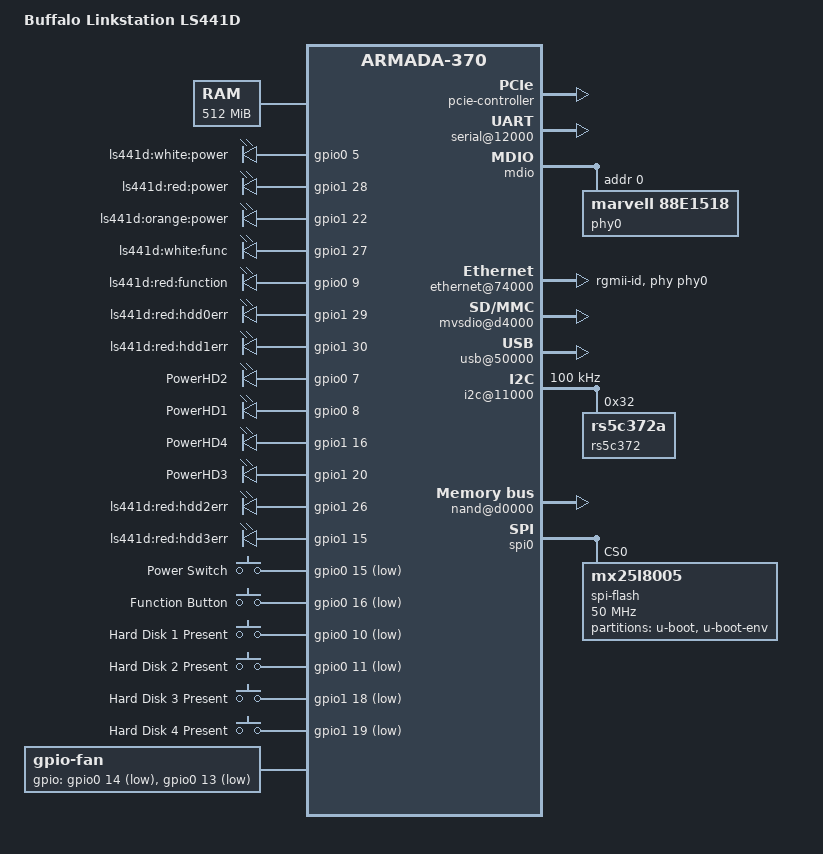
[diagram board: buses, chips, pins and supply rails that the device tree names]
/*
 * Device Tree file for Buffalo Linkstation LS441D
 *
 * Toha <tohenk@yahoo.com>
 *
 * This file is dual-licensed: you can use it either under the terms
 * of the GPL or the X11 license, at your option. Note that this dual
 * licensing only applies to this file, and not this project as a
 * whole.
 *
 *  a) This file is free software; you can redistribute it and/or
 *     modify it under the terms of the GNU General Public License as
 *     published by the Free Software Foundation; either version 2 of the
 *     License, or (at your option) any later version.
 *
 *     This file is distributed in the hope that it will be useful,
 *     but WITHOUT ANY WARRANTY; without even the implied warranty of
 *     MERCHANTABILITY or FITNESS FOR A PARTICULAR PURPOSE.  See the
 *     GNU General Public License for more details.
 *
 * Or, alternatively,
 *
 *  b) Permission is hereby granted, free of charge, to any person
 *     obtaining a copy of this software and associated documentation
 *     files (the "Software"), to deal in the Software without
 *     restriction, including without limitation the rights to use,
 *     copy, modify, merge, publish, distribute, sublicense, and/or
 *     sell copies of the Software, and to permit persons to whom the
 *     Software is furnished to do so, subject to the following
 *     conditions:
 *
 *     The above copyright notice and this permission notice shall be
 *     included in all copies or substantial portions of the Software.
 *
 *     THE SOFTWARE IS PROVIDED "AS IS", WITHOUT WARRANTY OF ANY KIND,
 *     EXPRESS OR IMPLIED, INCLUDING BUT NOT LIMITED TO THE WARRANTIES
 *     OF MERCHANTABILITY, FITNESS FOR A PARTICULAR PURPOSE AND
 *     NONINFRINGEMENT. IN NO EVENT SHALL THE AUTHORS OR COPYRIGHT
 *     HOLDERS BE LIABLE FOR ANY CLAIM, DAMAGES OR OTHER LIABILITY,
 *     WHETHER IN AN ACTION OF CONTRACT, TORT OR OTHERWISE, ARISING
 *     FROM, OUT OF OR IN CONNECTION WITH THE SOFTWARE OR THE USE OR
 *     OTHER DEALINGS IN THE SOFTWARE.
 */

/dts-v1/;

#include <dt-bindings/input/input.h>
#include <dt-bindings/gpio/gpio.h>
#include "armada-370.dtsi"

/ {
	model = "Buffalo Linkstation LS441D";
	compatible = "buffalo,ls441d", "marvell,armada370", "marvell,armada-370-xp";

	chosen {
		bootargs = "earlyprintk boot=local";
		stdout-path = "serial0:115200n8";
	};

	memory {
		device_type = "memory";
		reg = <0x00000000 0x20000000>; /* 512 MB */
	};

	soc {
		ranges = <MBUS_ID(0xf0, 0x01) 0 0xd0000000 0x100000
			  MBUS_ID(0x01, 0xe0) 0 0xfff00000 0x100000>;

		pcie-controller {
			status = "okay";

			pcie@1,0 {
				/* Port 0, Lane 0 */
				status = "okay";
			};
			pcie@2,0 {
				/* Port 1, Lane 0 */
				status = "okay";
			};
		};

		internal-regs {
			rtc@10300 {
				status = "disabled";
			};

			serial@12000 {
				status = "okay";
			};

			timer@20300 {
				status = "okay";
			};

			mdio {
				/* Marvell 88E1518 */
				phy0: ethernet-phy@0 {
					reg = <0>;
					marvell,reg-init = <0x3 0x10 0xf000 0x081e>,
							   <0x3 0x11 0xfff0 0x0001>;
					compatible = "marvell,88e1518", "ethernet-phy-ieee802.3-c22";
				};
			};

			ethernet@74000 {
				status = "okay";
				phy = <&phy0>;
				phy-mode = "rgmii-id";
			};			

			mvsdio@d4000 {
				pinctrl-0 = <&sdio_pins3>;
				pinctrl-names = "default";
				status = "okay";
				broken-cd;
			};

			usb@50000 {
				status = "okay";
			};

			i2c@11000 {
				status = "okay";
				clock-frequency = <100000>;

				rs5c372: rs5c372@32 {
					compatible = "rs5c372a";
					reg = <0x32>;
				};
			};

			nand@d0000 {
				status = "okay";
				num-cs = <1>;
				marvell,nand-keep-config;
				marvell,nand-enable-arbiter;
				nand-on-flash-bbt;

				/* Use Hardware BCH ECC */
				//nand-ecc-strength = <4>;
				//nand-ecc-step-size = <512>;

				partition@0 {
					label = "boot";
					//reg = <0x0 0x02000000>;
					reg = <0x00000000 0x02000000>;  /* 32MB */
				};
				partition@02100000 {
					label = "rootfs";
					//reg = <0x02100000 0x1df00000>;
					reg = <0x02000000 0x1e000000>;  /* 480MB */
				};
			};
		};
	};

/*	regulators {
		compatible = "simple-bus";
		#address-cells = <1>;
		#size-cells = <0>;
		pinctrl-0 = <&usb_vbus>;
		pinctrl-names = "default";

		usb_power: regulator@1 {
			compatible = "regulator-fixed";
			reg = <1>;
			regulator-name = "USB Power";
			regulator-min-microvolt = <5000000>;
			regulator-max-microvolt = <5000000>;
			enable-active-high;
			regulator-always-on;
			regulator-boot-on;
			gpio = <&gpio0 5 GPIO_ACTIVE_LOW>;
		};
	};
*/


	gpio-leds {
		compatible = "gpio-leds";
		pinctrl-names = "default";
		pinctrl-0 = <&alarm_led_pin &info_led_pin &power_led &err_led &info_led &func_red 
			&func_led_pin &sata1_led_pin &sata2_led_pin &hdd2_err_led &hdd3_err_led 
			&hdd_pwr0 &hdd_pwr1 &hdd_pwr2 &hdd_pwr3>;

		power-led {
			label = "ls441d:white:power";
			gpios = <&gpio0 5 GPIO_ACTIVE_HIGH>;
			default-state = "on";
		};
	
		err-led {
			label = "ls441d:red:power";
			gpios = <&gpio1 28 GPIO_ACTIVE_HIGH>;
			default-state = "off";
		};

		info-led {
			label = "ls441d:orange:power";
			gpios = <&gpio1 22 GPIO_ACTIVE_HIGH>;
			default-state = "off";
		};


		white-func-led {
			label = "ls441d:white:func";
			gpios = <&gpio1 27 GPIO_ACTIVE_HIGH>;
			default-state = "off";
		};

		func-red {
			label = "ls441d:red:function";
			gpios = <&gpio0 9 GPIO_ACTIVE_HIGH>;
			default-state = "off";
		};

		red-hdd0err-led {
			label = "ls441d:red:hdd0err";
			gpios = <&gpio1 29 GPIO_ACTIVE_HIGH>;
			default-state = "off";
		};
		red-hdd1err-led {
			label = "ls441d:red:hdd1err";
			gpios = <&gpio1 30 GPIO_ACTIVE_HIGH>;
			default-state = "off";
		};

		hd1-power {
			label = "PowerHD2";
			gpios = <&gpio0 7 GPIO_ACTIVE_HIGH>;
			default-state = "on";
		};

		hd0-power {
			label = "PowerHD1";
			gpios = <&gpio0 8 GPIO_ACTIVE_HIGH>;
			default-state = "on";
		};
		
		hd3-power {
			label = "PowerHD4";
			gpios = <&gpio1 16 GPIO_ACTIVE_HIGH>;
			default-state = "on";
		};

		hd2-power {
			label = "PowerHD3";
			gpios = <&gpio1 20 GPIO_ACTIVE_HIGH>;
			default-state = "on";
		};
		
		hdd2-err-led {
			label = "ls441d:red:hdd2err";
			gpios = <&gpio1 26 GPIO_ACTIVE_HIGH>;
			default-state = "off";
		};

		hdd3-err-led {
			label = "ls441d:red:hdd3err";
			gpios = <&gpio1 15 GPIO_ACTIVE_HIGH>;
			default-state = "off";
		};

	};

	restart_poweroff {
		compatible = "restart-poweroff";
	};

	//gpio-poweroff {
	//	compatible = "gpio-poweroff";
	//	pinctrl-0 = <&poweroff>;
	//	pinctrl-names = "default";
	//	gpios = <&gpio1 28 GPIO_ACTIVE_LOW>;
	//};


	gpio-keys {
		compatible = "gpio-keys";
		pinctrl-0 = <&power_switch &func_button &hdd_hot0_n &hdd_hot1_n &hdd_hot2_n &hdd_hot3_n>;
		pinctrl-names = "default";

		power-switch {
			label = "Power Switch";
			linux,code = <KEY_POWER>;
			gpios = <&gpio0 15 GPIO_ACTIVE_LOW>;
		};
		func-button {
			label = "Function Button";
			linux,code = <KEY_OPTION>;
			gpios = <&gpio0 16 GPIO_ACTIVE_LOW>;
		};

		hdd0-hot {
			label = "Hard Disk 1 Present";
			linux,code = <KEY_PROG1>;
			gpios = <&gpio0 10 GPIO_ACTIVE_LOW>;
		};

		hdd1-hot {
			label = "Hard Disk 2 Present";
			linux,code = <KEY_PROG2>;
			gpios = <&gpio0 11 GPIO_ACTIVE_LOW>;
		};

		hdd2-hot {
			label = "Hard Disk 3 Present";
			linux,code = <KEY_PROG3>;
			gpios = <&gpio1 18 GPIO_ACTIVE_LOW>;
		};

		hdd3-hot {
			label = "Hard Disk 4 Present";
			linux,code = <KEY_PROG4>;
			gpios = <&gpio1 19 GPIO_ACTIVE_LOW>;
		};


	};

	gpio-fan {
		compatible = "gpio-fan";
		pinctrl-0 = <&fan_low &fan_high &fan_lock>;
		pinctrl-names = "default";
		gpios = <&gpio0 14 GPIO_ACTIVE_LOW
		         &gpio0 13 GPIO_ACTIVE_LOW>;
		gpio-fan,speed-map = <0    3
		                      1500 2
		                      3250 1
		                      5000 0>;
		//alarm-gpios = <&gpio0 12 GPIO_ACTIVE_HIGH>;
	};
};

&spi0 {
	status = "okay";
	pinctrl-0 = <&spi0_pins2>;

	spi-flash@0 {
		#address-cells = <1>;
		#size-cells = <1>;
		compatible = "mx25l8005", "jedec,spi-nor";
		reg = <0>; /* Chip select 0 */
		spi-max-frequency = <50000000>;

		partition@00000 {
			label = "u-boot";
			reg = <0x00000 0xf0000>;
			read-only;
		};
		partition@f0000 {
			label = "u-boot-env";
			reg = <0xf0000 0x10000>;
		};
	};
};

&pinctrl {

	power_led: power-led {
		marvell,pins = "mpp5";
		marvell,function = "gpo";
	};

	/* ??? in */
	usb_oc_n: usb-oc-n {
		marvell,pins = "mpp6";
		marvell,function = "gpio";
	};
	
	/* out: default 0 */
	hdd_pwr1: hdd-pwr1 {
		marvell,pins = "mpp7";
		marvell,function = "gpo";
	};

	/* out: default 0 */
	hdd_pwr0: hdd-pwr0 {
		marvell,pins = "mpp8";
		marvell,function = "gpio";
	};

	func_red: func-red {
		marvell,pins = "mpp9";
		marvell,function = "gpo";
	};

	/* in */
	hdd_hot0_n: hdd-hot0-n {
		marvell,pins = "mpp10";
		marvell,function = "gpio";
	};

	/* in */
	hdd_hot1_n: hdd-hot1-n {
		marvell,pins = "mpp11";
		marvell,function = "gpio";
	};

	fan_lock: fan-lock {
		marvell,pins = "mpp12";
		marvell,function = "gpio";
	};

	fan_high: fan-high {
		marvell,pins = "mpp13";
		marvell,function = "gpio";
	};
	fan_low: fan-low {
		marvell,pins = "mpp14";
		marvell,function = "gpio";
	};
	power_switch: power-switch {
		marvell,pins = "mpp15";
		marvell,function = "gpio";
	};
	func_button: func-button {
		marvell,pins = "mpp16";
		marvell,function = "gpio";
	};
	
	/* ??? in */
	uart_en_n: uart-en-n {
		marvell,pins = "mpp31";
		marvell,function = "gpio";
	};
	
	/* out: default 0 */
	hdd3_err_led: hdd3-err-led {
		marvell,pins = "mpp47";
		marvell,function = "gpo";
	};	

	/* out: default 0 */
	hdd_pwr3: hdd-pwr3 {
		marvell,pins = "mpp49";
		marvell,function = "gpio";
	};	

	/* in */
	hdd_hot2_n: hdd-hot2-n {
		marvell,pins = "mpp50";
		marvell,function = "gpio";
	};

	/* in */
	hdd_hot3_n: hdd-hot3-n {
		marvell,pins = "mpp51";
		marvell,function = "gpio";
	};

	/* out: default 0 */
	hdd_pwr2: hdd-pwr2 {
		marvell,pins = "mpp52";
		marvell,function = "gpio";	
	};

	/* out: default 0 */
	info_led: info-led {
		marvell,pins = "mpp54";
		marvell,function = "gpo";
	};

	alarm_led_pin: alarm-led-pin {
		marvell,pins = "mpp55";
		marvell,function = "gpio";
	};

	info_led_pin: info-led-pin {
		marvell,pins = "mpp57";
		marvell,function = "gpio";
	};

	/* out: default 0 */
	hdd2_err_led: hdd2-err-led {
		marvell,pins = "mpp58";
		marvell,function = "gpio";
	};

	func_led_pin: func-led-pin {
		marvell,pins = "mpp59";
		marvell,function = "gpo";
	};

	/* out: default 0 */
	err_led: err-led {
		marvell,pins = "mpp60";
		marvell,function = "gpio";
	};

	sata1_led_pin: sata1-led-pin {
		marvell,pins = "mpp61";
		marvell,function = "gpo";
	};
	sata2_led_pin: sata2-led-pin {
		marvell,pins = "mpp62";
		marvell,function = "gpio";
	};
};
